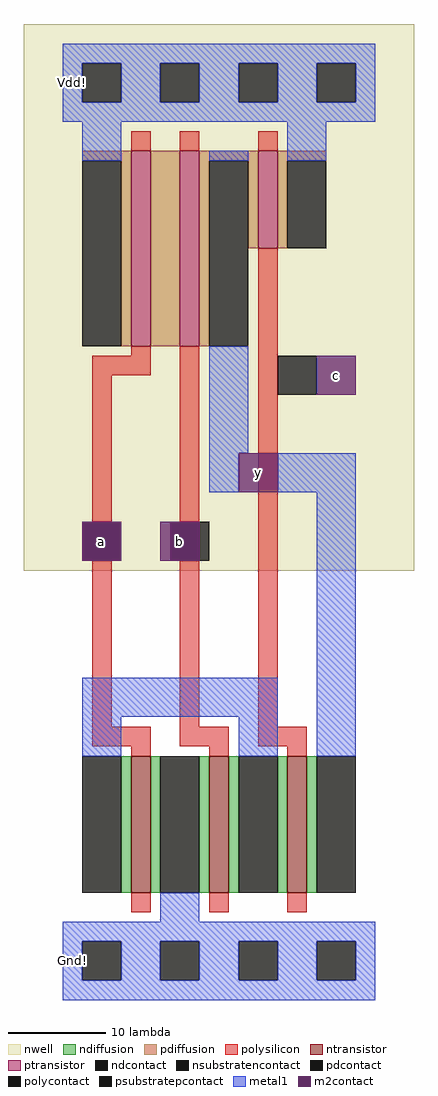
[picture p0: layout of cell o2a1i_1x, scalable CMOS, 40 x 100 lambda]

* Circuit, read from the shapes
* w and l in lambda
.subckt o2a1i_1x Gnd! Vdd! a b c y
M1 Gnd! a n1 Gnd! nfet w=14 l=2
M2 n1 b Gnd! Gnd! nfet w=14 l=2
M3 y c n1 Gnd! nfet w=14 l=2
M4 n2 a Vdd! Vdd! pfet w=20 l=2
M5 y b n2 Vdd! pfet w=20 l=2
M6 Vdd! c y Vdd! pfet w=10 l=2
.ends

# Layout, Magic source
magic
tech scmos
<< nwell >>
rect -6 40 34 96
<< ntransistor >>
rect 5 7 7 21
rect 13 7 15 21
rect 21 7 23 21
<< ptransistor >>
rect 5 63 7 83
rect 10 63 12 83
rect 18 73 20 83
<< ndiffusion >>
rect 4 7 5 21
rect 7 7 8 21
rect 12 7 13 21
rect 15 7 16 21
rect 20 7 21 21
rect 23 7 24 21
<< pdiffusion >>
rect 0 82 5 83
rect 4 63 5 82
rect 7 63 10 83
rect 12 82 18 83
rect 12 63 13 82
rect 17 73 18 82
rect 20 82 25 83
rect 20 73 21 82
<< ndcontact >>
rect 0 7 4 21
rect 8 7 12 21
rect 16 7 20 21
rect 24 7 28 21
<< pdcontact >>
rect 0 63 4 82
rect 13 63 17 82
rect 21 73 25 82
<< psubstratepcontact >>
rect 0 -2 4 2
rect 8 -2 12 2
rect 16 -2 20 2
rect 24 -2 28 2
<< nsubstratencontact >>
rect 0 88 4 92
rect 8 88 12 92
rect 16 88 20 92
rect 24 88 28 92
<< polysilicon >>
rect 5 83 7 85
rect 10 83 12 85
rect 18 83 20 85
rect 5 62 7 63
rect 1 60 7 62
rect 1 45 3 60
rect 10 45 12 63
rect 1 24 3 41
rect 10 24 12 41
rect 18 24 20 73
rect 1 22 7 24
rect 10 22 15 24
rect 18 22 23 24
rect 5 21 7 22
rect 13 21 15 22
rect 21 21 23 22
rect 5 5 7 7
rect 13 5 15 7
rect 21 5 23 7
<< polycontact >>
rect 0 41 4 45
rect 9 41 13 45
rect 20 58 24 62
<< metal1 >>
rect -2 92 30 94
rect -2 88 0 92
rect 4 88 8 92
rect 12 88 16 92
rect 20 88 24 92
rect 28 88 30 92
rect -2 86 30 88
rect 0 82 4 86
rect 13 82 17 83
rect 21 82 25 86
rect 13 52 17 63
rect 13 48 16 52
rect 20 48 28 52
rect 0 25 20 29
rect 0 21 4 25
rect 16 21 20 25
rect 24 21 28 48
rect 8 4 12 7
rect -2 2 30 4
rect -2 -2 0 2
rect 4 -2 8 2
rect 12 -2 16 2
rect 20 -2 24 2
rect 28 -2 30 2
rect -2 -4 30 -2
<< m2contact >>
rect 24 58 28 62
rect 16 48 20 52
rect 0 41 4 45
rect 8 41 9 45
rect 9 41 12 45
<< labels >>
rlabel m2contact 2 43 2 43 1 a
rlabel m2contact 10 43 10 43 1 b
rlabel m2contact 18 50 18 50 1 y
rlabel m2contact 26 60 26 60 1 c
rlabel metal1 -1 90 -1 90 3 Vdd!
rlabel metal1 -1 0 -1 0 2 Gnd!
<< end >>
